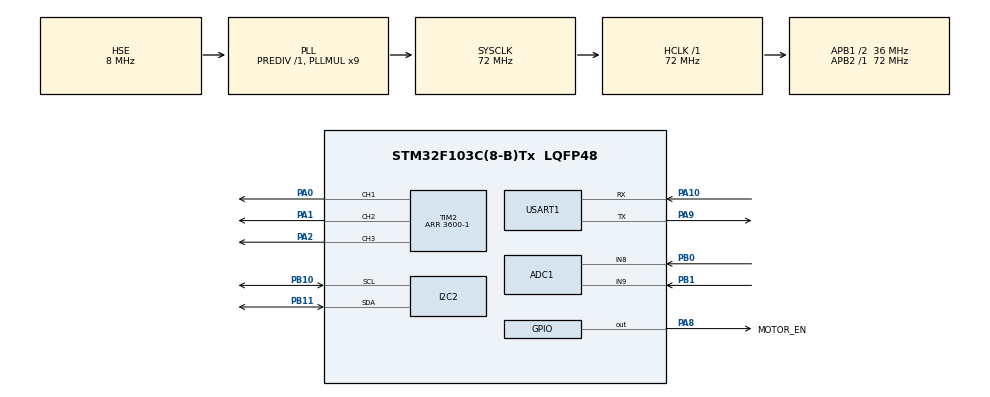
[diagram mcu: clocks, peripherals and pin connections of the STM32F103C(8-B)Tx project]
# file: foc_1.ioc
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ADC1.Channel-2\#ChannelRegularConversion=ADC_CHANNEL_8
ADC1.Channel-3\#ChannelRegularConversion=ADC_CHANNEL_9
ADC1.ContinuousConvMode=ENABLE
ADC1.EnableAnalogWatchDog=false
ADC1.EnableInjectedConversion=DISABLE
ADC1.InjNumberOfConversion=1
ADC1.NbrOfConversion=2
ADC1.NbrOfConversionFlag=1
ADC1.Rank-2\#ChannelRegularConversion=1
ADC1.Rank-3\#ChannelRegularConversion=2
ADC1.SamplingTime-2\#ChannelRegularConversion=ADC_SAMPLETIME_55CYCLES_5
ADC1.SamplingTime-3\#ChannelRegularConversion=ADC_SAMPLETIME_55CYCLES_5
ADC1.master=1
Dma.ADC1.0.Direction=DMA_PERIPH_TO_MEMORY
Dma.ADC1.0.Instance=DMA1_Channel1
Dma.ADC1.0.MemDataAlignment=DMA_MDATAALIGN_HALFWORD
Dma.ADC1.0.MemInc=DMA_MINC_ENABLE
Dma.ADC1.0.Mode=DMA_CIRCULAR
Dma.ADC1.0.PeriphDataAlignment=DMA_PDATAALIGN_HALFWORD
Dma.ADC1.0.PeriphInc=DMA_PINC_DISABLE
Dma.ADC1.0.Priority=DMA_PRIORITY_LOW
Dma.Request0=ADC1
I2C2.I2C_Mode=I2C_Fast
Mcu.Family=STM32F1
Mcu.Name=STM32F103C(8-B)Tx
Mcu.Package=LQFP48
NVIC.DMA1_Channel1_IRQn=true\:0\:0\:false\:false\:true\:false\:true\:true
NVIC.PriorityGroup=NVIC_PRIORITYGROUP_4
NVIC.TIM4_IRQn=true\:0\:0\:false\:false\:true\:true\:true\:true
NVIC.USART1_IRQn=true\:0\:0\:false\:false\:true\:true\:true\:true
PA0-WKUP.Signal=S_TIM2_CH1_ETR
PA1.Signal=S_TIM2_CH2
PA10.Mode=Asynchronous
PA10.Signal=USART1_RX
PA13.Mode=Serial_Wire
PA13.Signal=SYS_JTMS-SWDIO
PA14.Mode=Serial_Wire
PA14.Signal=SYS_JTCK-SWCLK
PA2.Signal=S_TIM2_CH3
PA8.GPIO_Label=MOTOR_EN
PA8.GPIO_Speed=GPIO_SPEED_FREQ_LOW
PA8.Signal=GPIO_Output
PA9.Mode=Asynchronous
PA9.Signal=USART1_TX
PB0.Signal=ADCx_IN8
PB1.Signal=ADCx_IN9
PB10.Mode=I2C
PB10.Signal=I2C2_SCL
PB11.Mode=I2C
PB11.Signal=I2C2_SDA
PD0-OSC_IN.Mode=HSE-External-Oscillator
PD0-OSC_IN.Signal=RCC_OSC_IN
PD1-OSC_OUT.Mode=HSE-External-Oscillator
PD1-OSC_OUT.Signal=RCC_OSC_OUT
ProjectManager.HeapSize=0x200
ProjectManager.StackSize=0x400
ProjectManager.TargetToolchain=MDK-ARM V5.32
RCC.ADCPresc=RCC_ADCPCLK2_DIV6
RCC.AHBFreq_Value=72000000
RCC.APB1CLKDivider=RCC_HCLK_DIV2
RCC.APB1Freq_Value=36000000
RCC.APB1TimFreq_Value=72000000
RCC.APB2Freq_Value=72000000
RCC.APB2TimFreq_Value=72000000
RCC.HCLKFreq_Value=72000000
RCC.PLLMUL=RCC_PLL_MUL9
RCC.PLLSourceVirtual=RCC_PLLSOURCE_HSE
RCC.SYSCLKFreq_VALUE=72000000
RCC.SYSCLKSource=RCC_SYSCLKSOURCE_PLLCLK
RCC.USBFreq_Value=72000000
SH.ADCx_IN8.0=ADC1_IN8,IN8
SH.ADCx_IN9.0=ADC1_IN9,IN9
SH.S_TIM2_CH1_ETR.0=TIM2_CH1,PWM Generation1 CH1
SH.S_TIM2_CH2.0=TIM2_CH2,PWM Generation2 CH2
SH.S_TIM2_CH3.0=TIM2_CH3,PWM Generation3 CH3
TIM2.Channel-PWM\ Generation1\ CH1=TIM_CHANNEL_1
TIM2.Channel-PWM\ Generation2\ CH2=TIM_CHANNEL_2
TIM2.Channel-PWM\ Generation3\ CH3=TIM_CHANNEL_3
TIM2.Period=3600-1
TIM4.Period=99
TIM4.Prescaler=71
USART1.VirtualMode=VM_ASYNC
VP_TIM2_VS_ClockSourceINT.Mode=Internal
VP_TIM4_VS_ClockSourceINT.Mode=Internal
board=custom

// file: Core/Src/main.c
/* USER CODE BEGIN Header */
/**
  ******************************************************************************
  * @file           : main.c
  * @brief          : Main program body
  ******************************************************************************
  * @attention
  *
  * Copyright (c) 2025 STMicroelectronics.
  * All rights reserved.
  *
  * This software is licensed under terms that can be found in the LICENSE file
  * in the root directory of this software component.
  * If no LICENSE file comes with this software, it is provided AS-IS.
  *
		 项目总览
 * 硬件：STM32F103C8T6 + DengFOC(M0通道) + 无刷2208 + AS5600(I2C) + 外部12V
 * 关键引脚（与 CubeMX 一致）：
 *   - TIM2_CH1/2/3 -> 三相PWM输出到驱动板M0（A相/B相/C相）
 *   - PA8 -> 电机使能 Motor_EN（上电后拉高）
 *   - I2C2(PB10=SCL, PB11=SDA) -> AS5600 读角度
 *   - ADC1_IN8(PB0)=O2_CS、ADC1_IN9(PB1)=O1_CS -> 两相电流采样
 *   - USART1(PA9/PA10) -> 上位机串口交互
 *
 * 模式（串口命令 cX 切换）：
 *   c1: 开环速度   -> 目标 t=rad/s，直接积分电角 el_angle 输出Uq
 *   c2: 闭环电流   -> 目标 Iq_ref（代码里先固定0.5A），做 dq 电流PI，输出 Ud/Uq，再SVPWM
 *   c3: 闭环位置   -> 目标 t=rad（机械角），位置PID输出Uq，角度用编码器的电角
 *
 * 其它命令：
 *   a       : 零电角对齐（给 d 轴定向电压，让转子吸附）
 *   z       : 电流偏置校准（ADC零点）
 *   t3.14   : 设置目标（c1=速度rad/s；c3=位置rad）
 *   p5 i200 d0.1 : 设置位置环 PID
 *
 * 时序：
 *   - TIM4 中断（CTRL_HZ=10kHz）：跑 control_step() —— 真正的控制（开环/电流/位置）
 *   - 主循环(1kHz)：读AS5600角度、做“解缠绕”、推导电角（给控制用）；20Hz 打印状态
 *
 * 目前状态：c1、c3 已正常；c2（电流环）需要后续继续整定与采样时序优化。

  ******************************************************************************
  */
/* USER CODE END Header */
#include "main.h"
#include "adc.h"
#include "dma.h"
#include "i2c.h"
#include "tim.h"
#include "usart.h"
#include "gpio.h"

/* USER CODE BEGIN Includes */
#include <string.h>
#include <stdlib.h>
#include <stdio.h>
#include <math.h>
#include <ctype.h>
/* USER CODE END Includes */

/* USER CODE BEGIN PD */
#ifndef M_PI
#define M_PI 3.14159265358979323846f
#endif

#ifndef TWO_PI
#define TWO_PI (2.0f * M_PI)
#endif

#ifndef _3PI_2
#define _3PI_2 (1.5f * M_PI)
#endif

#define TX_BUFFER_COUNT 8
#define TX_BUFFER_SIZE  96
/* USER CODE END PD */

/* USER CODE BEGIN PV */

/* 控制模式与物理参数 */
typedef enum { MODE_OL_SPEED=1, MODE_CL_CURRENT=2, MODE_CL_POS=3, MODE_CL_SPEED=4 } ctrl_mode_t;
static const int   pole_pairs = 7;     // 2208 7对极
static const int   Dir = 1;            // 相线对调+取正，保持“正速度=角度正增”
static const float Vdc = 12.0f;        // 母线电压（用于电压归一/限幅）
static const float Uq_limit = 4.0f;    // 输出Uq上限（先保守）

/* 运行时的模式与目标量 */
volatile ctrl_mode_t g_mode = MODE_OL_SPEED; // 默认上电开环速度
volatile float g_target = 1.0f;              // c1=rad/s, c3=rad（位置）
volatile float g_kp = 5.0f, g_ki = 0.0f, g_kd = 0.1f; // 位置环PID参数

/* 控制节拍与电角 */
#define CTRL_HZ 10000.0f       // TIM4中断频率（CubeMX里要配一致）
#define Ts (1.0f/CTRL_HZ)      // 控制步长（秒）
static float el_angle = 0.0f;  // 开环速度模式用的“自己积”的电角

/* 电流采样（DMA）与实时电流（安培） */
volatile uint16_t adc_raw[2] = {0,0}, adc_last[2] = {0,0};
volatile float ia_A = 0.0f, ib_A = 0.0f;

/* 串口收发缓冲与简单协议 */
#define RX_MAX 64
static uint8_t rx_ch;
static char rx_line[RX_MAX];
static uint16_t rx_len = 0;
static char tx_buffer[TX_BUFFER_COUNT][TX_BUFFER_SIZE];
static volatile uint8_t tx_head = 0, tx_tail = 0;
volatile uint8_t tx_busy = 0;

/* 角度（机械->电） */
static volatile float g_angle_el_cache = 0.0f;     // 用于控制的电角（由机械角推导）
//static const float ADC_REF = 3.3f;
static const float ADC_K = (3.3f/4095.0f);

/* 电流换算与偏置（板载电阻与运放增益） */
static const float R_SHUNT = 0.01f, AMP_GAIN = 50.0f;
static const float V2A = 1.0f/(R_SHUNT*AMP_GAIN);  // 伏->安
static const float GAIN_A = -V2A, GAIN_B = -V2A;   // 板子接法决定正负（这里负号是我这块板的方向）
static float offset_a_V = 0.0f, offset_b_V = 0.0f; // ADC零偏（上电校准）

/* 机械角与零电角 */
static float zero_elec_angle = 0.0f;               // 对齐得到的零电角
volatile float g_mech_angle = 0.0f;                // 机械累计角（rad）
static float g_last_mech_angle = 0.0f;
//	g_full_rotations = 0.0f; // （当前版本仍保留全圈计数）

/* dq 电流环变量（后续继续整定） */
static float Iq_ref = 0.5f;         // 先固定Iq_ref=0.5A 方便感受吸力
static float Id = 0.0f, Iq = 0.0f;
static float id_integral = 0.0f, iq_integral = 0.0f;
static float id_kp = 1.5f, id_ki = 150.0f;  // d轴 PI
static float iq_kp = 0.2f, iq_ki = 50.0f;  // q轴 PI

/* 位置环PID的内部变量（积分/上次误差） */
static float pi_i = 0.0f, last_e = 0.0f;

/* ---- 诊断/保护 ---- */
static volatile uint8_t sat_flag = 0;      // 电压向量限幅标志（便于串口观察）
static volatile uint8_t fault_latched = 0; // 过流锁存
static const float I_TRIP = 2.0f;          // 过流阈值(A) —— 保守值，见下文说明

/* 可打印的观测量 */
static float Ud_dbg=0, Uq_dbg=0, Uabs_dbg=0;

/* 在线校正开关：相序对调/ q轴翻转/ 电角偏置（度 -> 弧度） */
static int   cfg_swap_ab = 0;          // 0: 正常；1: 交换 ia/ib
static int   cfg_flip_q  = 0;          // 0: 正常；1: 翻转 q 轴符号
static float angle_offset_el = 0.0f;   // 电角额外偏置（弧度）

/* 速度环PID参数与状态 */
static float vel_kp = 0.30f, vel_ki = 5.0f, vel_kd = 0.0f;
static float vel_i = 0.0f, vel_last_e = 0.0f;

/* 速度计算与滤波 */
static float g_mech_velocity = 0.0f;        // 当前机械速度(rad/s)
static float g_last_angle_for_vel = 0.0f;  // 速度微分用的上次角度
static const float vel_lpf_alpha = 0.15f;  // 低通滤波系数(0.1~0.3合适)

/* 串口输出模式切换 */
typedef enum { UART_MODE_TEXT=0, UART_MODE_VOFA=1 } uart_output_mode_t;
static volatile uart_output_mode_t uart_output_mode = UART_MODE_TEXT; // 默认文本模式
/* USER CODE END PV */

void SystemClock_Config(void);
/* USER CODE BEGIN PFP */

static void Align_ZeroElectricalAngle(void);
static void current_offsets_calib(uint16_t rounds);
static inline float pid_step(float kp,float ki,float kd,float e,float out_lim);
static void pid_reset(void);
static void uart_safe_print(const char* s);
/* 声明新的可靠角度读取函数 */
static float get_stable_angle(void);
static void set_pwm_output_zero(void);
static void control_step_open_loop_speed(void);
static void control_step_closed_position(void);
static void control_step_closed_current(void);
static void control_step_closed_speed(void);
static void app_startup_sequence(void);
static void app_main_loop_1khz_task(void);
static void app_report_task(void);

/* USER CODE END PFP */

/* USER CODE BEGIN 0 */
extern TIM_HandleTypeDef htim2; extern TIM_HandleTypeDef htim4;
extern ADC_HandleTypeDef hadc1; extern I2C_HandleTypeDef hi2c2;
extern UART_HandleTypeDef huart1;

// [B2] 通用数学小工具：归一化/饱和 —— 所有控制分支都要用到的基础函数
static inline float sat01(float x){ return x<0?0:(x>1?1:x); }
static inline float norm2pi(float a){ while(a<0.0f)a+=TWO_PI; while(a>=TWO_PI)a-=TWO_PI; return a; }

// [B3] 串口“非阻塞发送”管线：环形缓冲 + Transmit_IT + 发送完成回调链式续发
static void uart_safe_print(const char* s) {
    uint8_t next_head = (tx_head + 1) % TX_BUFFER_COUNT;
    if (next_head == tx_tail) return;
    strncpy(tx_buffer[tx_head], s, TX_BUFFER_SIZE - 1);
    tx_buffer[tx_head][TX_BUFFER_SIZE - 1] = '\0';
    tx_head = next_head;
    __disable_irq();
    if (!tx_busy) {
        tx_busy = 1;
        HAL_UART_Transmit_IT(&huart1, (uint8_t*)tx_buffer[tx_tail], (uint16_t)strlen(tx_buffer[tx_tail]));
    }
    __enable_irq();
}

// [B3] 串口“非阻塞发送”管线：环形缓冲 + Transmit_IT + 发送完成回调链式续发
void HAL_UART_TxCpltCallback(UART_HandleTypeDef *huart) {
    if (huart->Instance == USART1) {
        tx_tail = (tx_tail + 1) % TX_BUFFER_COUNT;
        if (tx_tail != tx_head) {
            HAL_UART_Transmit_IT(&huart1, (uint8_t*)tx_buffer[tx_tail], (uint16_t)strlen(tx_buffer[tx_tail]));
        } else {
            tx_busy = 0;
        }
    }
}

// [B4] 命令解析器：c/t/p/i/d/qr/qi/dr/di/y/v/w/a/z —— 修改模式/目标/参数/在线极性修正/对齐/校准
static void parse_line(char* line) {
	/* 思路（串口小协议）：逐字符解析字母+数值，例如：
 *  c3\n   -> 切到位置闭环
 *  t1.57\n-> 设置目标为1.57rad
 *  p5 i200 d0.1 -> 改位置环 PID
 * 小优化：当切到 c3 时，“就地定点”，可以在切换时加一行：
 *   if (new_mode==MODE_CL_POS) g_target = g_mech_angle;
 */
    char* cursor = line;
    while (*cursor) {
        while (*cursor && !isalpha((unsigned char)*cursor)) { cursor++; }
        if (!*cursor) break;
        char cmd = tolower((unsigned char)*cursor);
        cursor++;
        char* end_ptr;
        float val = strtof(cursor, &end_ptr);
        if (end_ptr == cursor) {
             if (cmd == 'a') Align_ZeroElectricalAngle();
             if (cmd == 'z') current_offsets_calib(500);
        } else {
            switch(cmd) {
                case 'c':
									if ((ctrl_mode_t)val == MODE_CL_POS) { g_target = g_mech_angle; }
											if ((int)val >= MODE_OL_SPEED && (int)val <= MODE_CL_SPEED && (ctrl_mode_t)val != g_mode) {
                        g_mode = (ctrl_mode_t)val;
                        pid_reset();
										    fault_latched = 0; // 切模式时清除过流锁存

                    }
                    break;
                case 't': g_target = val; break;
                case 'p': g_kp = val; break;
                case 'q':  // q0.8 / qr2.0 / qi150
                    if (*cursor=='r') {       // qr2.0 -> q轴 Kp
                        iq_kp = val; cursor++; // 消费 'r'
                    } else if (*cursor=='i') { // qi150 -> q轴 Ki
                        iq_ki = val; cursor++; // 消费 'i'
                    } else {                   // q0.8 -> Iq_ref
                        Iq_ref = val;
                    }
                    break;
                case 'd':  // 兼容已存在的 d(位置D)，但也允许 dr/di 指电流环
                    if (*cursor=='r') { // dr2.0 -> d轴 Kp
                        id_kp = val; cursor++; // 消费 'r'
                    } else if (*cursor=='i') { // di150 -> d轴 Ki
                        id_ki = val; cursor++; // 消费 'i'
                    } else {
                        g_kd = val; // 保持原意：位置环 D
                    }
                    break;
                case 'i':  // 兼容已存在的 i(位置I)，也允许 qi 设置 q轴 Ki（为了对称，也支持 'qr'）
                    if (*cursor=='r') { // qr2.0 -> q轴 Kp（为了对齐 'dr' 也接受 'qr'）
                        iq_kp = val; cursor++;
                    } else if (*cursor=='i') { // qi150 -> q轴 Ki
                        iq_ki = val; cursor++;
                    } else {
                        g_ki = val; // 保持原意：位置环 I
                    }
                    break;
										case 'y': // y1/y0 -> 交换A/B相（Clarke前交换）
                    cfg_swap_ab = (val != 0.0f) ? 1 : 0;
                    break;
                case 'v': // v1/v0 -> 翻转 q 轴（Park后 Iq 与逆变 Uq 同时翻转）
                    cfg_flip_q = (val != 0.0f) ? 1 : 0;
                    break;
                case 'w': // w90/w-90/w0 -> 设置电角偏置(度)
                    angle_offset_el = val * (M_PI/180.0f);
                    break;
								case 's': {  // 速度环PID设置：sp0.3 / si5 / sd0
										char sub = *cursor;
										if (sub=='p' || sub=='i' || sub=='d') {
												cursor++; // 先消费子命令字母
												float v = strtof(cursor, &end_ptr);
												if (sub=='p')      vel_kp = v;
												else if (sub=='i') vel_ki = v;
												else               vel_kd = v;
												cursor = end_ptr;  // 把游标推进到数字末尾
										}
								} break;
								case 'u': // u0/u1 -> 切换串口输出模式
										if ((int)val == 0 || (int)val == 1) {
											uart_output_mode = (uart_output_mode_t)((int)val);
    }
    break;
            }
        }
        cursor = end_ptr;
    }
}

// [B4-ISR] 串口接收中断：逐字拼行，遇 '\n' 调 parse_line() 并回 ACK
void HAL_UART_RxCpltCallback(UART_HandleTypeDef *huart){
  if(huart->Instance==USART1){
    if(rx_ch=='\n' || rx_len>=RX_MAX-1){
        rx_line[rx_len]='\0';
        parse_line(rx_line);
        char ack[64];
        snprintf(ack, sizeof(ack), "ACK: mode=%d, Tgt=%.2f\r\n", (int)g_mode, g_target);
        uart_safe_print(ack);
        rx_len=0;
    }
    else if(rx_ch!='\r'){ rx_line[rx_len++] = (char)rx_ch; }
    HAL_UART_Receive_IT(&huart1, &rx_ch, 1);
  }
}

// [B5-ISR] ADC+DMA 完成回调：将 dma 写入的 adc_raw 快照到 adc_last（控制 ISR 只读 adc_last）
void HAL_ADC_ConvCpltCallback(ADC_HandleTypeDef* hadc){
  if(hadc->Instance == ADC1){ adc_last[0] = adc_raw[0]; adc_last[1] = adc_raw[1]; }
}

// [B6] I2C 总线卡死恢复：清 BUSY/重新初始化，保证 AS5600 读角可靠
static void I2C_ClearBusyFlagErratum(void) {
    HAL_I2C_DeInit(&hi2c2);
    HAL_Delay(2);
    HAL_I2C_Init(&hi2c2);
}

// [B6-1] 角度原始读取（0..2π）：读寄存器 0x0E/0x0F -> 12bit -> 弧度，失败返回负数
static float AS5600_ReadMechRad(void){
  uint8_t reg = 0x0E;
  uint8_t buf[2] = {0};
  // 让I2C读取失败时返回一个无效值(-1)，而不是一个可能被误用的旧值
  if (HAL_I2C_Master_Transmit(&hi2c2, (0x36 << 1), &reg, 1, 50) != HAL_OK) {
      I2C_ClearBusyFlagErratum();
      return -1.0f;
  }
  if (HAL_I2C_Master_Receive(&hi2c2, (0x36 << 1), buf, 2, 50) != HAL_OK) {
      I2C_ClearBusyFlagErratum();
      return -1.0f;
  }
  uint16_t raw = (((uint16_t)buf[0] << 8) | buf[1]) & 0x0FFF;
  return (float)raw * (TWO_PI / 4096.0f);
}

// [B6-2] 稳定角读取：连读多次，连续两次接近才认定可靠，供“对齐零电角”使用
static float get_stable_angle(void) {
    float angle_prev = -1.0f, angle_curr = 0.0f;
    for (int i = 0; i < 20; i++) { // 最多尝试20次
        angle_curr = AS5600_ReadMechRad();
        // 确保读数有效(>0)且连续两次读数非常接近
        if (angle_curr >= 0.0f && angle_prev >= 0.0f && fabsf(angle_curr - angle_prev) < 0.01f) {
            return angle_curr; // 读数稳定，返回
        }
        angle_prev = angle_curr;
        HAL_Delay(5); // 稍作延时，等待总线稳定
    }
    // 如果循环20次还不行，就返回最后一次读到的有效值，或者0
    return (angle_curr >= 0.0f) ? angle_curr : 0.0f;
}

// [B7] 机械角“解缠绕”：0..2π 原始角 -> 折返增量到 [-π,π] -> 连续机械角 g_mech_angle
// [B9] 三相电压合成（电压形式 SVPWM）：dq^-1 -> αβ -> 加共模偏置 -> 写 TIM2 CCR1/2/3
static void set_phase_voltage(float Uq, float angle_el) {
  float sa = sinf(angle_el), ca = cosf(angle_el);
  float Ualpha = -Uq*sa, Ubeta  = Uq*ca;
  float Ua = Ualpha + 0.5f*Vdc, Ub = (1.7320508f*Ubeta - Ualpha)*0.5f + 0.5f*Vdc, Uc = -(Ualpha + 1.7320508f*Ubeta)*0.5f + 0.5f*Vdc;
  uint32_t ARR = __HAL_TIM_GET_AUTORELOAD(&htim2);
  __HAL_TIM_SET_COMPARE(&htim2, TIM_CHANNEL_1, (uint32_t)(sat01(Ua/Vdc)*ARR));
  __HAL_TIM_SET_COMPARE(&htim2, TIM_CHANNEL_2, (uint32_t)(sat01(Ub/Vdc)*ARR));
  __HAL_TIM_SET_COMPARE(&htim2, TIM_CHANNEL_3, (uint32_t)(sat01(Uc/Vdc)*ARR));
}

// [B12-aux] 读缓存电角：主循环按 1kHz 计算并写入，控制 ISR 只读
static inline float electric_angle_from_sensor(void){ return g_angle_el_cache; }

// [B12-aux] PWM紧急拉零：三相占空比全部置0（用于故障或锁存保护）
static void set_pwm_output_zero(void) {
  __HAL_TIM_SET_COMPARE(&htim2, TIM_CHANNEL_1, 0);
  __HAL_TIM_SET_COMPARE(&htim2, TIM_CHANNEL_2, 0);
  __HAL_TIM_SET_COMPARE(&htim2, TIM_CHANNEL_3, 0);
}

// [B12-OL] 开环速度：按目标速度积分电角并输出固定Uq
static void control_step_open_loop_speed(void) {
  float omega_e = (float)pole_pairs * (float)Dir * g_target;
  el_angle = norm2pi(el_angle + omega_e * Ts);
  set_phase_voltage(Uq_limit, el_angle);
}

// [B12-POS] 位置闭环：位置PID输出Uq，使用传感器电角施加电压
static void control_step_closed_position(void) {
  float error = g_target - g_mech_angle;
  float Uq = pid_step(g_kp, g_ki, g_kd, error, Uq_limit);
  set_phase_voltage(Uq, electric_angle_from_sensor());
}

// [B12-CUR] 电流闭环FOC：采样->Clarke/Park->dq PI+抗饱和->逆变->SVPWM，含过流锁存
static void control_step_closed_current(void) {
  if (fault_latched) {
    set_pwm_output_zero();
    return;
  }

  float va = (float)adc_last[0] * ADC_K - offset_a_V;
  float vb = (float)adc_last[1] * ADC_K - offset_b_V;
  ia_A = va * GAIN_A;
  ib_A = vb * GAIN_B;

  if (fabsf(ia_A) > I_TRIP || fabsf(ib_A) > I_TRIP) {
    fault_latched = 1;
    set_pwm_output_zero();
    return;
  }

  float ia = ia_A, ib = ib_A;
  if (cfg_swap_ab) { float tmp=ia; ia=ib; ib=tmp; }

  float Ialpha = ia;
  float Ibeta  = (ia + 2.0f*ib) * 0.57735027f;

  float angle_el = electric_angle_from_sensor() + angle_offset_el;
  float sa = sinf(angle_el), ca = cosf(angle_el);
  Id =  ca*Ialpha + sa*Ibeta;
  Iq = -sa*Ialpha + ca*Ibeta;

  float err_d = 0.0f - Id;
  float err_q = Iq_ref - Iq;
  id_integral += id_ki * err_d * Ts;
  iq_integral += iq_ki * err_q * Ts;

  float Ud_unsat = id_kp * err_d + id_integral;
  float Uq_unsat = iq_kp * err_q + iq_integral;

  float mag = sqrtf(Ud_unsat*Ud_unsat + Uq_unsat*Uq_unsat);
  float Ud = Ud_unsat, Uq = Uq_unsat;
  sat_flag = 0;
  if (mag >= Uq_limit - 1e-3f) {
    float k = Uq_limit / (mag + 1e-6f);
    Ud *= k; Uq *= k; sat_flag = 1;
  }

  id_integral += (Ud - Ud_unsat);
  iq_integral += (Uq - Uq_unsat);

  float i_lim = Uq_limit;
  if (id_integral >  i_lim) id_integral =  i_lim;
  if (id_integral < -i_lim) id_integral = -i_lim;
  if (iq_integral >  i_lim) iq_integral =  i_lim;
  if (iq_integral < -i_lim) iq_integral = -i_lim;

  if (cfg_flip_q) Uq = -Uq;

  float Ualpha =  ca*Ud - sa*Uq;
  float Ubeta  =  sa*Ud + ca*Uq;
  float Ua = Ualpha + 0.5f*Vdc;
  float Ub = (1.7320508f*Ubeta - Ualpha)*0.5f + 0.5f*Vdc;
  float Uc = -(Ualpha + 1.7320508f*Ubeta)*0.5f + 0.5f*Vdc;

  uint32_t ARR = __HAL_TIM_GET_AUTORELOAD(&htim2);
  __HAL_TIM_SET_COMPARE(&htim2, TIM_CHANNEL_1, (uint32_t)(sat01(Ua/Vdc)*ARR));
  __HAL_TIM_SET_COMPARE(&htim2, TIM_CHANNEL_2, (uint32_t)(sat01(Ub/Vdc)*ARR));
  __HAL_TIM_SET_COMPARE(&htim2, TIM_CHANNEL_3, (uint32_t)(sat01(Uc/Vdc)*ARR));

  Ud_dbg = Ud; Uq_dbg = Uq; Uabs_dbg = sqrtf(Ud*Ud + Uq*Uq);
}

// [B12-SPD] 速度闭环：速度PID输出Uq，使用传感器电角施加电压
static void control_step_closed_speed(void) {
  float error_vel = g_target - g_mech_velocity;

  vel_i += vel_ki * 0.5f * Ts * (error_vel + vel_last_e);
  if (vel_i > Uq_limit) vel_i = Uq_limit;
  if (vel_i < -Uq_limit) vel_i = -Uq_limit;

  float d_term = vel_kd * (error_vel - vel_last_e) / Ts;
  float Uq = vel_kp * error_vel + vel_i + d_term;

  if (Uq > Uq_limit) Uq = Uq_limit;
  if (Uq < -Uq_limit) Uq = -Uq_limit;
  vel_last_e = error_vel;

  set_phase_voltage(Uq, electric_angle_from_sensor());
}

// [B12] 控制核心（10kHz 固定节拍）：c1 开环速度 / c3 位置闭环 / c2 电流闭环（含过流锁存/抗饱和）
static void control_step(void){
	/* 思路（控制主循环，固定频率=CTRL_HZ）：
 * - MODE_OL_SPEED：开环速度 -> 直接对电角积分 el_angle += ω_e*Ts，然后用固定Uq输出；
 * - MODE_CL_POS  ：位置闭环 -> 误差 = (目标rad - 机械累计rad)，位置PID输出Uq，再用“编码器推导的电角”来施加电压；
 * - MODE_CL_CURRENT：电流闭环 -> ADC两相电流 -> Clarke/Park -> dq双PI -> 限幅 -> 逆变换 -> 三相电压 -> SVPWM。
 * 把重活（sinf/sqrtf）放这里，但频率不要太高（当前尝试10kHz；如有卡顿可以先降到2~5kHz再升）。
 */
  switch(g_mode){
    case MODE_OL_SPEED:
      control_step_open_loop_speed();
      break;
    case MODE_CL_CURRENT:
      control_step_closed_current();
      break;
    case MODE_CL_POS:
      control_step_closed_position();
      break;
    case MODE_CL_SPEED:
      control_step_closed_speed();
      break;
  }
}

// [B12-ISR] TIM4 更新中断：每个 Ts 调一次 control_step() —— “固定计算时间”保证
void HAL_TIM_PeriodElapsedCallback(TIM_HandleTypeDef *htim){
  if(htim->Instance == TIM4){ control_step(); }
}

// [B8] 对齐零电角：给定向电压(θ=_3PI_2)吸附→稳读机械角→零电角=mech*pp*Dir→清状态
static void Align_ZeroElectricalAngle(void){
	/* 思路（对齐零电角）：
 * 1) 给 d 轴一个固定电压（用 _3PI_2 方向），让转子自动吸到这个电角方向；
 * 2) 连续稳定读取 AS5600 的机械角（get_stable_angle），记录此刻机械角；
 * 3) 推导“零电角” zero_elec_angle = mech * pole_pairs * Dir（再取 0~2π）
 * 4) 之后的电角都要减掉这个零点，保证控制和传感一致。
 * 注意：这一步必须在使能 PWM 之后、电机不被外力扰动时做。
 */
  uint32_t t0 = HAL_GetTick();
  while(HAL_GetTick()-t0 < 1500){ set_phase_voltage(1.0f, _3PI_2); }
  /* 使用新的可靠函数来获取零点角度 */
  float initial_angle = get_stable_angle();
  zero_elec_angle = norm2pi(initial_angle * pole_pairs * Dir);
  g_angle_el_cache = zero_elec_angle;
  set_phase_voltage(0.0f, 0.0f);
	  sat_flag = 0;          // 状态清干净（避免旧的限幅/故障状态影响对齐后的首个周期）
  fault_latched = 0;     //
}

// [B10] 位置环 PID（梯形积分+前向差分+输出限幅+积分限幅），输出 Uq
static inline float pid_step(float kp,float ki,float kd,float e,float out_lim){
  pi_i += ki * 0.5f * Ts * (e + last_e);
  if(pi_i > out_lim) pi_i = out_lim; if(pi_i < -out_lim) pi_i = -out_lim;
  float d = kd * (e - last_e) / Ts;
  float u = kp*e + pi_i + d;
  if(u > out_lim) u = out_lim; if(u < -out_lim) u = -out_lim;
  last_e = e;
  return u;
}

// [B10-aux] 位置环重置：切模式/设定点变化时清积分，防突变
static void pid_reset(void) {
    pi_i = 0.0f;
    last_e = g_target - g_mech_angle;
    //重置速度环状态
    vel_i = 0.0f;
    vel_last_e = g_target - g_mech_velocity;
}

// [B11] 电流零偏校准：静止采样 N 次求平均 -> offset_a_V / offset_b_V
void current_offsets_calib(uint16_t rounds){
  uint32_t sum_a=0,sum_b=0;
  for(uint16_t i=0;i<rounds;i++){ sum_a+=adc_last[0]; sum_b+=adc_last[1]; HAL_Delay(1); }
  offset_a_V = (float)(sum_a/rounds)*ADC_K; offset_b_V = (float)(sum_b/rounds)*ADC_K;
}

static void update_cumulative_mechanical_angle(void) {
	/* 思路（机械角累计/解缠绕）：
 * - AS5600 原始角0~2π，需要把跨0/2π的“跳变”还原成连续曲线。
 * - 现在版本用 g_full_rotations 记录整圈数：当 Δθ 超过 π，就 ±2π 修正整圈数。
 *   这个写法能工作，但对偶发跳读略敏感。
 * - 稳妥替代（可选）：先把 Δθ 折返到 [-π,π]，再积分到 g_mech_angle（不维护整圈数）。
 *   先保留当前实现，因为现在 c3 已经正常；等把 c2 跑稳后再替换为“折返增量式”。
 */

//    // 只有在读取成功时才更新角度
//    float current_mech_angle = AS5600_ReadMechRad();
//    if (current_mech_angle < 0.0f) {
//        return; // 读取失败，直接返回，不更新任何值
//    }
//
//    float delta_angle = current_mech_angle - g_last_mech_angle;
//    if (fabsf(delta_angle) > M_PI) {
//        if (delta_angle > 0) g_full_rotations -= TWO_PI;
//        else g_full_rotations += TWO_PI;
//    }
//    g_mech_angle = g_full_rotations + current_mech_angle;
//    g_last_mech_angle = current_mech_angle;
//}
// （可选替换）更稳妥的解缠绕

    float curr = AS5600_ReadMechRad();
    if (curr < 0.0f) return;             // 读失败就跳过
    float d = curr - g_last_mech_angle;
    if (d >  M_PI) d -= TWO_PI;
    if (d < -M_PI) d += TWO_PI;
    g_mech_angle += d;
    g_last_mech_angle = curr;
}

// [B7-1] 机械速度计算：数值微分 + 一阶低通滤波
static void update_mechanical_velocity(void) {
    const float dt = 0.001f;  // 主循环1kHz，dt=1ms
    float raw_vel = (g_mech_angle - g_last_angle_for_vel) / dt;
    // 一阶IIR低通滤波：y[n] = α*x[n] + (1-α)*y[n-1]
    g_mech_velocity = vel_lpf_alpha * raw_vel + (1.0f - vel_lpf_alpha) * g_mech_velocity;
    g_last_angle_for_vel = g_mech_angle;
}

// VOFA+ JustFloat 协议发送函数
static void vofa_send_data(void) {
    // 定义要发送的通道数据（最多可以8-10个通道）
    float data[16];

    // ===== 通用通道（所有模式都有） =====
    data[0] = g_target;          // CH0: 目标值(速度rad/s 或 位置rad 或 电流A)
    data[1] = g_mech_angle;      // CH1: 机械角度(rad)
    data[2] = g_mech_velocity;   // CH2: 机械速度(rad/s)
    data[3] = (g_mode == MODE_OL_SPEED) ? el_angle : g_angle_el_cache;  // CH3: 电角度(rad)

    // ===== 电流相关通道 =====
    data[4] = ia_A;              // CH4: A相电流(A)
    data[5] = ib_A;              // CH5: B相电流(A)
    data[6] = Id;                // CH6: d轴电流(A)
    data[7] = Iq;                // CH7: q轴电流(A)

    // ===== 电压相关通道 =====
    data[8] = Ud_dbg;            // CH8: d轴电压(V)
    data[9] = Uq_dbg;            // CH9: q轴电压(V)
    data[10] = Uabs_dbg;         // CH10: 电压幅值(V)

    // ===== 状态标志通道 =====
    data[11] = (float)sat_flag;      // CH11: 电压饱和标志
    data[12] = (float)fault_latched; // CH12: 过流保护标志
    data[13] = (float)g_mode;        // CH13: 当前控制模式(1/2/3/4)

    // ===== 预留通道（用于后续扩展） =====
    data[14] = 0.0f;             // CH14: 预留
    data[15] = 0.0f;             // CH15: 预留

    // JustFloat 协议帧尾：0x00 0x00 0x80 0x7f
    uint8_t tail[4] = {0x00, 0x00, 0x80, 0x7f};

    // 发送数据（浮点数组 + 帧尾）
    HAL_UART_Transmit(&huart1, (uint8_t*)data, sizeof(data), 10);
    HAL_UART_Transmit(&huart1, tail, 4, 10);
}

// [B13] 上电启动序列：PWM/ADC/UART启动、偏置校准、零电角对齐、控制中断使能
static void app_startup_sequence(void) {
  HAL_TIM_PWM_Start(&htim2, TIM_CHANNEL_1);
  HAL_TIM_PWM_Start(&htim2, TIM_CHANNEL_2);
  HAL_TIM_PWM_Start(&htim2, TIM_CHANNEL_3);
  HAL_ADC_Start_DMA(&hadc1, (uint32_t*)adc_raw, 2);
  current_offsets_calib(800);
  HAL_UART_Receive_IT(&huart1, &rx_ch, 1);
  HAL_GPIO_WritePin(GPIOA, GPIO_PIN_8, GPIO_PIN_SET);
  HAL_Delay(200);
  Align_ZeroElectricalAngle();

  float stable_angle = get_stable_angle();
  g_last_mech_angle = stable_angle;
  g_mech_angle = stable_angle;

  pid_reset();
  HAL_TIM_Base_Start_IT(&htim4);
}

// [B14-1kHz] 慢任务1：约1kHz更新机械角、机械速度和电角缓存
static void app_main_loop_1khz_task(void) {
  static uint32_t tick_1khz = 0;
  if (HAL_GetTick() - tick_1khz < 1) {
    return;
  }

  tick_1khz = HAL_GetTick();
  update_cumulative_mechanical_angle();
  update_mechanical_velocity();
  g_angle_el_cache = norm2pi(g_mech_angle * pole_pairs * Dir - zero_elec_angle);
}

// [B14-report] 慢任务2：约90Hz串口上报（VOFA二进制或文本状态）
static void app_report_task(void) {
  static uint32_t tick_report = 0;
  if (HAL_GetTick() - tick_report <= 10) {
    return;
  }

  tick_report = HAL_GetTick();
  if (uart_output_mode == UART_MODE_VOFA) {
    vofa_send_data();
    return;
  }

  char line[TX_BUFFER_SIZE];
  if (g_mode == MODE_CL_CURRENT) {
    snprintf(line,sizeof(line),
              "S,mode=%d,Id=%.3f,Iq=%.3f,Ud=%.2f,Uq=%.2f,|U|=%.2f,sat=%d,fault=%d\r\n",
              (int)g_mode, Id, Iq, Ud_dbg, Uq_dbg, Uabs_dbg, (int)sat_flag, (int)fault_latched);
  } else if (g_mode == MODE_CL_POS) {
    snprintf(line,sizeof(line), "S,mode=%d,Tgt=%.2f,Cur=%.2f\r\n",
              (int)g_mode, g_target, g_mech_angle);
  } else if (g_mode == MODE_CL_SPEED) {
    snprintf(line,sizeof(line), "S,mode=%d,TgtVel=%.2f,CurVel=%.2f\r\n",
              (int)g_mode, g_target, g_mech_velocity);
  } else {
    snprintf(line,sizeof(line), "S,mode=%d,t=%.3f,el=%.3f\r\n",
              (int)g_mode, g_target, el_angle);
  }
  uart_safe_print(line);
}

/* USER CODE END 0 */

int main(void)
{

  /* MCU Configuration--------------------------------------------------------*/

  /* Reset of all peripherals, Initializes the Flash interface and the Systick. */
  HAL_Init();

  /* Configure the system clock */
  SystemClock_Config();

  /* Initialize all configured peripherals */
  MX_GPIO_Init();
  MX_DMA_Init();
  MX_ADC1_Init();
  MX_I2C2_Init();
  MX_TIM2_Init();
  MX_TIM4_Init();
  MX_USART1_UART_Init();
  /* USER CODE BEGIN 2 */

	// [B13] 上电初始化流程（一次性）：启动 PWM/ADC+DMA/串口接收/EN -> 等 200ms -> 对齐零电角 -> 初始化解缠绕 -> 清 PID -> 启动 TIM4 ISR
	/* 初始化顺序：
 * 1) 启动三相PWM（TIM2 CH1/2/3）；
 * 2) 启动ADC DMA（两路电流），并做一次“电流偏置校准”；
 * 3) 启动串口中断接收（逐字节），EN脚拉高（允许驱动）；
 * 4) 稍等200ms后做零电角对齐 Align_ZeroElectricalAngle()；
 * 5) 用 get_stable_angle 初始化机械角累计器（last/mech 都置成当前角）；
 * 6) 清PID内部状态，最后启动 TIM4 中断（真正进入控制循环）。
 */
  app_startup_sequence();

  /* USER CODE END 2 */

  /* Infinite loop */
  /* USER CODE BEGIN WHILE */
  while (1)
  {
			// [B14] 主循环（慢任务）：1kHz 读角+解缠绕+电角缓存；20Hz 状态打印（非阻塞串口）

				/* 主循环任务（低频）：
 * 1) 每1ms：读取AS5600并更新 g_mech_angle；同时推导“电角缓存” g_angle_el_cache；
 *    —— 控制中断直接用 g_angle_el_cache（避免中断里访问I2C）
 * 2) 每50ms：通过串口打印一次状态（模式/目标/当前位置等）
 * 注意：I2C读角设置了较短超时；读失败就跳过本次更新，不阻塞控制中断。
 */

    app_main_loop_1khz_task();
    app_report_task();

    /* USER CODE END WHILE */

  }
}

void SystemClock_Config(void)
{
  RCC_OscInitTypeDef RCC_OscInitStruct = {0};
  RCC_ClkInitTypeDef RCC_ClkInitStruct = {0};
  RCC_PeriphCLKInitTypeDef PeriphClkInit = {0};

  /** Initializes the RCC Oscillators according to the specified parameters
  * in the RCC_OscInitTypeDef structure.
  */
  RCC_OscInitStruct.OscillatorType = RCC_OSCILLATORTYPE_HSE;
  RCC_OscInitStruct.HSEState = RCC_HSE_ON;
  RCC_OscInitStruct.HSEPredivValue = RCC_HSE_PREDIV_DIV1;
  RCC_OscInitStruct.HSIState = RCC_HSI_ON;
  RCC_OscInitStruct.PLL.PLLState = RCC_PLL_ON;
  RCC_OscInitStruct.PLL.PLLSource = RCC_PLLSOURCE_HSE;
  RCC_OscInitStruct.PLL.PLLMUL = RCC_PLL_MUL9;
  if (HAL_RCC_OscConfig(&RCC_OscInitStruct) != HAL_OK)
  {
    Error_Handler();
  }

  /** Initializes the CPU, AHB and APB buses clocks
  */
  RCC_ClkInitStruct.ClockType = RCC_CLOCKTYPE_HCLK|RCC_CLOCKTYPE_SYSCLK
                              |RCC_CLOCKTYPE_PCLK1|RCC_CLOCKTYPE_PCLK2;
  RCC_ClkInitStruct.SYSCLKSource = RCC_SYSCLKSOURCE_PLLCLK;
  RCC_ClkInitStruct.AHBCLKDivider = RCC_SYSCLK_DIV1;
  RCC_ClkInitStruct.APB1CLKDivider = RCC_HCLK_DIV2;
  RCC_ClkInitStruct.APB2CLKDivider = RCC_HCLK_DIV1;

  if (HAL_RCC_ClockConfig(&RCC_ClkInitStruct, FLASH_LATENCY_2) != HAL_OK)
  {
    Error_Handler();
  }
  PeriphClkInit.PeriphClockSelection = RCC_PERIPHCLK_ADC;
  PeriphClkInit.AdcClockSelection = RCC_ADCPCLK2_DIV6;
  if (HAL_RCCEx_PeriphCLKConfig(&PeriphClkInit) != HAL_OK)
  {
    Error_Handler();
  }
}

void Error_Handler(void)
{
  __disable_irq();
  while (1)
  {
  }
}
